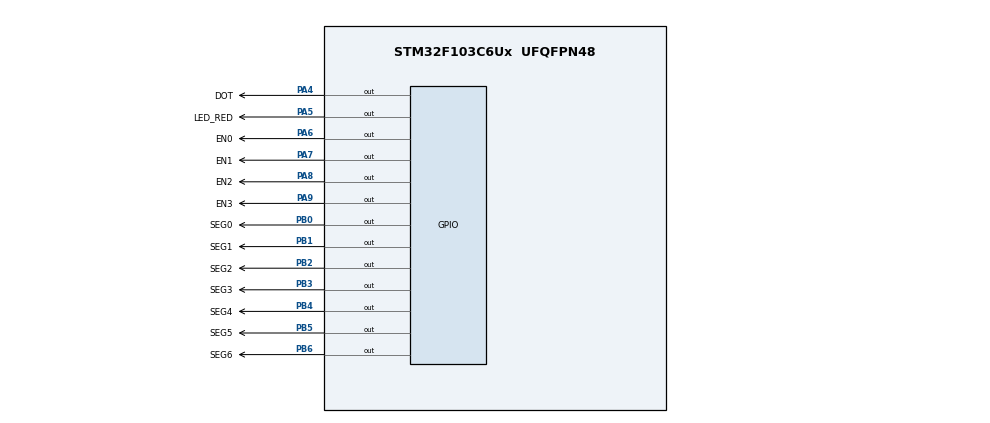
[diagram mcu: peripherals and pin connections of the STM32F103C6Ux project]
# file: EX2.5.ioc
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Mcu.Family=STM32F1
Mcu.Name=STM32F103C6Ux
Mcu.Package=UFQFPN48
NVIC.PriorityGroup=NVIC_PRIORITYGROUP_4
NVIC.TIM2_IRQn=true\:0\:0\:false\:false\:true\:true\:true
PA4.GPIO_Label=DOT
PA4.Signal=GPIO_Output
PA5.GPIO_Label=LED_RED
PA5.Signal=GPIO_Output
PA6.GPIO_Label=EN0
PA6.Signal=GPIO_Output
PA7.GPIO_Label=EN1
PA7.Signal=GPIO_Output
PA8.GPIO_Label=EN2
PA8.Signal=GPIO_Output
PA9.GPIO_Label=EN3
PA9.Signal=GPIO_Output
PB0.GPIO_Label=SEG0
PB0.Signal=GPIO_Output
PB1.GPIO_Label=SEG1
PB1.Signal=GPIO_Output
PB2.GPIO_Label=SEG2
PB2.Signal=GPIO_Output
PB3.GPIO_Label=SEG3
PB3.Signal=GPIO_Output
PB4.GPIO_Label=SEG4
PB4.Signal=GPIO_Output
PB5.GPIO_Label=SEG5
PB5.Signal=GPIO_Output
PB6.GPIO_Label=SEG6
PB6.Signal=GPIO_Output
ProjectManager.HeapSize=0x200
ProjectManager.StackSize=0x400
ProjectManager.TargetToolchain=STM32CubeIDE
RCC.APB1Freq_Value=8000000
RCC.APB2Freq_Value=8000000
TIM2.Period=9
TIM2.Prescaler=7999
VP_SYS_VS_ND.Mode=No_Debug
VP_TIM2_VS_ClockSourceINT.Mode=Internal
board=custom

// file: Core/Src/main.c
/* USER CODE BEGIN Header */
/**
  ******************************************************************************
  * @file           : main.c
  * @brief          : Main program body
  ******************************************************************************
  * @attention
  *
  * <h2><center>&copy; Copyright (c) 2022 STMicroelectronics.
  * All rights reserved.</center></h2>
  *
  * This software component is licensed by ST under BSD 3-Clause license,
  * the "License"; You may not use this file except in compliance with the
  * License. You may obtain a copy of the License at:
  *                        opensource.org/licenses/BSD-3-Clause
  *
  ******************************************************************************
  */
/* USER CODE END Header */
#include "main.h"

/* USER CODE BEGIN Includes */
#include "software_timer.h"
/* USER CODE END Includes */

TIM_HandleTypeDef htim2;

void SystemClock_Config(void);
static void MX_GPIO_Init(void);
static void MX_TIM2_Init(void);

/* USER CODE BEGIN 0 */
const int MAX_LED = 4;
int index_led = 0;
int hour = 15, minute = 8, second = 57;
int led_buffer[4] = {1,2,3,4};
int pinControll7SEG[4] = {EN0_Pin, EN1_Pin, EN2_Pin, EN3_Pin};

/* USER CODE END 0 */
void clearLed() {
	HAL_GPIO_WritePin(GPIOA, EN0_Pin | EN1_Pin | EN2_Pin | EN3_Pin, SET);
}

void clearPin(int index) {
  HAL_GPIO_WritePin(GPIOA, pinControll7SEG[index], SET);
}

void enablePin(int index) {
	HAL_GPIO_WritePin(GPIOA, pinControll7SEG[index], RESET);
}

void display7SEG(int num) {
    char segNumber[10] = {0xC0, 0xF9, 0xA4, 0xB0, 0x99, 0x92, 0x82, 0xF8, 0x80, 0x90};
    for (int i = 0; i < 7; ++i) {
        HAL_GPIO_WritePin(GPIOB, GPIO_PIN_0 << i, (segNumber[num] >> i) & 1);
    }
}

void clearEnable(){
	HAL_GPIO_WritePin(EN0_GPIO_Port, EN0_Pin, 1);
	HAL_GPIO_WritePin(EN1_GPIO_Port, EN1_Pin, 1);
	HAL_GPIO_WritePin(EN2_GPIO_Port, EN2_Pin, 1);
	HAL_GPIO_WritePin(EN3_GPIO_Port, EN3_Pin, 1);
}

void update7SEG(int index) {
	clearLed();
	clearEnable();
	switch(index) {
	 // Display the first 7 SEG with led_buffer [0]
	  case 0: {
		  display7SEG(led_buffer[0]);
		  enablePin(0);
		  break;
	  }
	  // Display the first 7 SEG with led_buffer [1]
	  case 1: {
		  display7SEG(led_buffer[1]);
		  enablePin(1);
		  break;
	  }
	  // Display the first 7 SEG with led_buffer [2]
	  case 2: {
		  display7SEG(led_buffer[2]);
		  enablePin(2);
		  break;
	  }
	  // Display the first 7 SEG with led_buffer [3]
	  case 3: {
		  display7SEG(led_buffer[3]);
		  enablePin(3);
		  break;
	  }
	}
}

void updateClockBuffer() {
    led_buffer[0] = hour / 10;
    led_buffer[1] = hour % 10;
    led_buffer[2] = minute / 10;
    led_buffer[3] = minute % 10;
}

int main(void)
{

  /* MCU Configuration--------------------------------------------------------*/

  /* Reset of all peripherals, Initializes the Flash interface and the Systick. */
  HAL_Init();

  /* Configure the system clock */
  SystemClock_Config();

  /* Initialize all configured peripherals */
  MX_GPIO_Init();
  MX_TIM2_Init();
  /* USER CODE BEGIN 2 */
  HAL_TIM_Base_Start_IT(&htim2);
  /* USER CODE END 2 */

  /* Infinite loop */
  /* USER CODE BEGIN WHILE */

//  clearLed();
  while (1)
  {
	  second++;
	  if (second >= 60){
		  second = 0;
		  minute++;
	  }
	  if(minute >= 60){
		  minute = 0;
		  hour++;
	  }
	  if(hour >= 24){
		  hour = 0;
	  }
	  updateClockBuffer();
	  HAL_Delay(1000);
    /* USER CODE END WHILE */
  }
}

void SystemClock_Config(void)
{
  RCC_OscInitTypeDef RCC_OscInitStruct = {0};
  RCC_ClkInitTypeDef RCC_ClkInitStruct = {0};

  /** Initializes the RCC Oscillators according to the specified parameters
  * in the RCC_OscInitTypeDef structure.
  */
  RCC_OscInitStruct.OscillatorType = RCC_OSCILLATORTYPE_HSI;
  RCC_OscInitStruct.HSIState = RCC_HSI_ON;
  RCC_OscInitStruct.HSICalibrationValue = RCC_HSICALIBRATION_DEFAULT;
  RCC_OscInitStruct.PLL.PLLState = RCC_PLL_NONE;
  if (HAL_RCC_OscConfig(&RCC_OscInitStruct) != HAL_OK)
  {
    Error_Handler();
  }
  /** Initializes the CPU, AHB and APB buses clocks
  */
  RCC_ClkInitStruct.ClockType = RCC_CLOCKTYPE_HCLK|RCC_CLOCKTYPE_SYSCLK
                              |RCC_CLOCKTYPE_PCLK1|RCC_CLOCKTYPE_PCLK2;
  RCC_ClkInitStruct.SYSCLKSource = RCC_SYSCLKSOURCE_HSI;
  RCC_ClkInitStruct.AHBCLKDivider = RCC_SYSCLK_DIV1;
  RCC_ClkInitStruct.APB1CLKDivider = RCC_HCLK_DIV1;
  RCC_ClkInitStruct.APB2CLKDivider = RCC_HCLK_DIV1;

  if (HAL_RCC_ClockConfig(&RCC_ClkInitStruct, FLASH_LATENCY_0) != HAL_OK)
  {
    Error_Handler();
  }
}

static void MX_TIM2_Init(void)
{

  TIM_ClockConfigTypeDef sClockSourceConfig = {0};
  TIM_MasterConfigTypeDef sMasterConfig = {0};

  htim2.Instance = TIM2;
  htim2.Init.Prescaler = 7999;
  htim2.Init.CounterMode = TIM_COUNTERMODE_UP;
  htim2.Init.Period = 9;
  htim2.Init.ClockDivision = TIM_CLOCKDIVISION_DIV1;
  htim2.Init.AutoReloadPreload = TIM_AUTORELOAD_PRELOAD_DISABLE;
  if (HAL_TIM_Base_Init(&htim2) != HAL_OK)
  {
    Error_Handler();
  }
  sClockSourceConfig.ClockSource = TIM_CLOCKSOURCE_INTERNAL;
  if (HAL_TIM_ConfigClockSource(&htim2, &sClockSourceConfig) != HAL_OK)
  {
    Error_Handler();
  }
  sMasterConfig.MasterOutputTrigger = TIM_TRGO_RESET;
  sMasterConfig.MasterSlaveMode = TIM_MASTERSLAVEMODE_DISABLE;
  if (HAL_TIMEx_MasterConfigSynchronization(&htim2, &sMasterConfig) != HAL_OK)
  {
    Error_Handler();
  }

}

static void MX_GPIO_Init(void)
{
  GPIO_InitTypeDef GPIO_InitStruct = {0};

  /* GPIO Ports Clock Enable */
  __HAL_RCC_GPIOA_CLK_ENABLE();
  __HAL_RCC_GPIOB_CLK_ENABLE();

  /*Configure GPIO pin Output Level */
  HAL_GPIO_WritePin(GPIOA, GPIO_PIN_4|GPIO_PIN_5|GPIO_PIN_6|GPIO_PIN_7
                          |GPIO_PIN_8|GPIO_PIN_9, GPIO_PIN_RESET);

  /*Configure GPIO pin Output Level */
  HAL_GPIO_WritePin(GPIOB, GPIO_PIN_0|GPIO_PIN_1|GPIO_PIN_2|GPIO_PIN_3
                          |GPIO_PIN_4|GPIO_PIN_5|GPIO_PIN_6, GPIO_PIN_RESET);

  /*Configure GPIO pins : PA4 PA5 PA6 PA7
                           PA8 PA9 */
  GPIO_InitStruct.Pin = GPIO_PIN_4|GPIO_PIN_5|GPIO_PIN_6|GPIO_PIN_7
                          |GPIO_PIN_8|GPIO_PIN_9;
  GPIO_InitStruct.Mode = GPIO_MODE_OUTPUT_PP;
  GPIO_InitStruct.Pull = GPIO_NOPULL;
  GPIO_InitStruct.Speed = GPIO_SPEED_FREQ_LOW;
  HAL_GPIO_Init(GPIOA, &GPIO_InitStruct);

  /*Configure GPIO pins : PB0 PB1 PB2 PB3
                           PB4 PB5 PB6 */
  GPIO_InitStruct.Pin = GPIO_PIN_0|GPIO_PIN_1|GPIO_PIN_2|GPIO_PIN_3
                          |GPIO_PIN_4|GPIO_PIN_5|GPIO_PIN_6;
  GPIO_InitStruct.Mode = GPIO_MODE_OUTPUT_PP;
  GPIO_InitStruct.Pull = GPIO_NOPULL;
  GPIO_InitStruct.Speed = GPIO_SPEED_FREQ_LOW;
  HAL_GPIO_Init(GPIOB, &GPIO_InitStruct);

}

/* USER CODE BEGIN 4 */
int countDOT = 100;
int countLed = 5;
void HAL_TIM_PeriodElapsedCallback(TIM_HandleTypeDef *htim)
{
	if(countDOT == 0) {
		HAL_GPIO_TogglePin(LED_RED_GPIO_Port, LED_RED_Pin);
		HAL_GPIO_TogglePin(DOT_GPIO_Port, DOT_Pin);
		countDOT = 100;
	}
	if(countLed == 0) {
		update7SEG(index_led);
		index_led++;
		if(index_led >= 4) index_led = 0;
		countLed = 5;
	}
	countDOT--;
	countLed--;
}
/* USER CODE END 4 */

void Error_Handler(void)
{
  __disable_irq();
  while (1)
  {
  }
}

/************************ (C) COPYRIGHT STMicroelectronics *****END OF FILE****/
